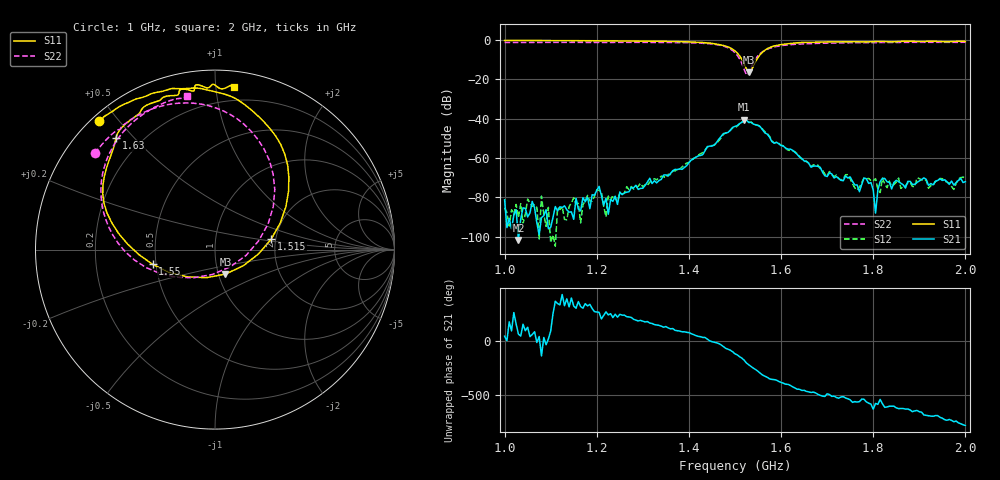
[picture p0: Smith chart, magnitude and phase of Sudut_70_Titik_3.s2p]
# Hz S RI R 50
! CMT, C1220, 16058040, 17.2.0/1
! Date: 14/08/2018 12:37:24
! Data: Format (Calibration Info)
! Freq  S11: Re/Im (F2)  S21: Re/Im (F2)  S12: Re/Im (F2)  S22: Re/Im (F2)
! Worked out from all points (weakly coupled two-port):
!   201 points, 1 GHz to 2 GHz, reference 50 ohm
!   highest |S21| = -40.59 dB at 1.52 GHz (marker M1); lowest = -101.7 dB at 1.03 GHz (marker M2)
!   lowest |S11| = -16.6 dB at 1.53 GHz (marker M3), VSWR 1.35, Z = 54 - j15.1 ohm
!   |S11| at or under -10 dB: 1.515 GHz to 1.547 GHz (32.17 MHz wide, 2.1 % of centre)
!   |S22| runs from -17.9 to -1.2 dB; largest |S21 - S12| = 0.00038
!   S11 on the Smith chart (normalised r, x): 1 GHz: 0.02, +0.44; 1.515 GHz: 1.89, +0.24; 1.55 GHz: 0.48, -0.09; 1.63 GHz: 0.11, +0.45; 2 GHz: 0.10, +1.12
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1e9  -0.6465 0.7146  5.61e-05 6.49e-05  -4.59e-05 2.65e-05  -0.6705 0.5372
1.03e9  -0.6227 0.7369  3.03e-06 7.62e-06  1.62e-05 2.59e-05  -0.6544 0.5571
1.17e9  -0.4749 0.8234  6.15e-05 -7.57e-05  5.25e-05 -3.89e-05  -0.5594 0.6551
1.335e9  -0.2126 0.8963  -0.000229 0.000134  -0.000263 0.000169  -0.3756 0.7734
1.45e9  0.1863 0.7912  0.00199 -4.59e-05  0.00203 -0.000203  0.0174 0.7845
1.5e9  0.4097 0.3251  -0.00259 -0.00575  -0.00244 -0.0054  0.3331 0.335
1.515e9  0.3124 0.0573  -0.00722 -0.00351  -0.00723 -0.00371  0.244 0.0502
1.52e9  0.2429 -0.0237  -0.00929 -0.00092  -0.00943 -0.00107  0.1731 -0.0326
1.53e9  0.0582 -0.1364  -0.00642 0.00465  -0.00649 0.00463  -0.0162 -0.1389
1.55e9  -0.3481 -0.0821  0.000787 0.00663  0.000557 0.00669  -0.3849 -0.0996
1.63e9  -0.5513 0.6228  0.000465 -0.00131  0.000571 -0.00132  -0.616 0.4621
1.67e9  -0.4348 0.748  -0.000207 -0.000583  -0.000185 -0.000636  -0.5652 0.5801
1.745e9  -0.2947 0.8435  -0.000305 -4.66e-05  -0.000375 -1.14e-05  -0.4672 0.7018
1.765e9  -0.2494 0.8574  -0.000192 7.53e-05  -0.00015 2.94e-05  -0.4431 0.7225
1.785e9  -0.2048 0.8632  -0.000277 0.000101  -0.000278 9.69e-05  -0.4176 0.742
1.805e9  -0.1956 0.8892  -3.27e-05 2.23e-05  -0.00018 0.000236  -0.3932 0.7591
1.815e9  -0.1793 0.8947  -0.00025 -1.26e-05  -0.000107 7.75e-05  -0.3814 0.7669
1.82e9  -0.1669 0.8938  -0.00024 0.000185  -0.000244 0.000182  -0.3756 0.7705
1.835e9  -0.1277 0.8839  -0.000117 0.000207  -8.66e-05 0.000241  -0.358 0.7812
1.945e9  0.0159 0.9043  0.00028 8.41e-05  0.000287 9.91e-05  -0.2198 0.839
1.975e9  0.0732 0.9077  0.000186 -8.38e-05  0.000145 -6.31e-05  -0.1829 0.843
2e9  0.1042 0.9064  0.000129 -0.000213  0.000165 -0.000259  -0.1582 0.8538
